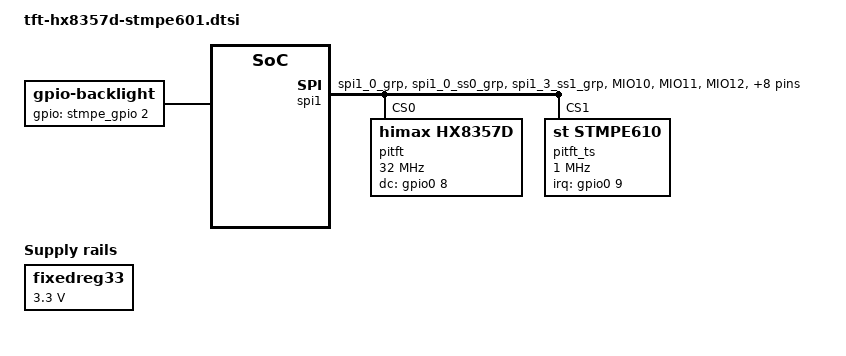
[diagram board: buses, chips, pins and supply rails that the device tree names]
/*
 * TFT controller specific code
 */

&pinctrl0 {
	pinctrl_spi1_tft: spi1_tft {
                // SPI1 for TFT and touch
                // SPI1_MOSI - MIO[10]
                // SPI1_MISO - MIO[11]
                // SPI1_SCLK - MIO[12]
                // SPI1_SSn0 - MIO[13]
                // SPI1_SSN1 - MIO[50]
		mux_spi {
			function = "spi1";
			groups = "spi1_0_grp";
		};
                mux_ss {
			function = "spi1_ss";
			groups   = "spi1_0_ss0_grp", "spi1_3_ss1_grp";
                };
		conf_spi {
			pins = "MIO10", "MIO11", "MIO12";
			slew-rate = <1>;
			bias-disable;
			io-standard = <3>;  // LVCMOS33
		};
		conf_ss0 {
			pins = "MIO13";
			slew-rate = <0>;
			bias-pull-up;
			io-standard = <3>;  // LVCMOS33
		};
		conf_ss {
			pins = "MIO50";
			slew-rate = <0>;
			bias-pull-up;
			io-standard = <2>;  // LVCMOS25
		};
                // TFT D/C (data/control)
		mux_tft_dc {
			function = "gpio0";
			groups = "gpio0_8_grp";
		};
		conf_tft_dc {
			pins = "MIO8";
			bias-disable;
			slew-rate = <0>;
			io-standard = <3>;  // LVCMOS33
		};
		// TFT reset
		mux_tft_reset {
			function = "gpio0";
			groups = "gpio0_51_grp";
		};
		conf_tft_reset {
			pins = "MIO51";
			bias-pull-up;
			slew-rate = <0>;
			io-standard = <3>;  // LVCMOS33
		};
		// touch pendown
		mux_touch_pendow {
			function = "gpio0";
			groups = "gpio0_9_grp";
		};
		conf_touch_pendow {
			pins = "MIO9";
			bias-disable;
			slew-rate = <0>;
			io-standard = <3>;  // LVCMOS33
		};
	};
};

&spi1 {
	num-cs = <2>;
	pinctrl-names = "default";
	pinctrl-0 = <&pinctrl_spi1_tft>;

	pitft: pitft@0{
		compatible = "himax,hx8357d";
		reg = <0>;

		spi-max-frequency = <32000000>;
		rotate = <90>;
		fps = <25>;
		bgr;
		buswidth = <8>;
		dc-gpios = <&gpio0 8 0>;
		debug = <0>;
	};

	pitft_ts@1 {
		#address-cells = <1>;
		#size-cells = <0>;
		compatible = "st,stmpe610";
		reg = <1>;
		spi-cpol;

		spi-max-frequency = <1000000>;
		irq-gpio = <&gpio0 9 0x2>; /* IRQF_TRIGGER_FALLING */
		interrupts = <9 2>; /* high-to-low edge triggered */
		interrupt-parent = <&gpio0>;
		interrupt-controller;

		stmpe_touchscreen {
			compatible = "st,stmpe-ts";
			st,sample-time = <4>;
			st,mod-12b = <1>;
			st,ref-sel = <0>;
			st,adc-freq = <2>;
			st,ave-ctrl = <3>;
			st,touch-det-delay = <4>;
			st,settling = <2>;
			st,fraction-z = <7>;
			st,i-drive = <0>;
		};

		stmpe_gpio: stmpe_gpio {
			#gpio-cells = <2>;
			compatible = "st,stmpe-gpio";
			/*
			 * only GPIO2 is wired/available
			 * and it is wired to the backlight
			 */
			st,norequest-mask = <0x7b>;
		};
	};
};

/{
	backlight {
		compatible = "gpio-backlight";
		gpios = <&stmpe_gpio 2 0>;
		default-on;
	};

	fixedreg33: fixed33@0 {
		compatible = "regulator-fixed";
		regulator-name = "fixed-supply";
		regulator-min-microvolt = <3300000>;
		regulator-max-microvolt = <3300000>;
	};
};
